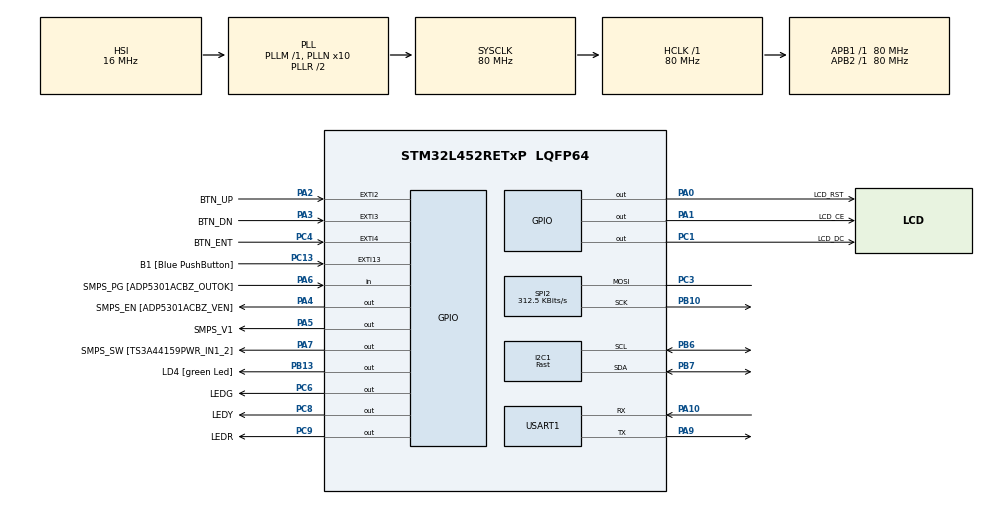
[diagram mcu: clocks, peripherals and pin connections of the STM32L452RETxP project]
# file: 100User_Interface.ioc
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Mcu.Family=STM32L4
PC3.Mode=Simplex_Bidirectional_Master
PA2.GPIO_PuPd=GPIO_NOPULL
VP_SYS_VS_tim6.Mode=TIM6
RCC.CortexFreq_Value=80000000
I2C1.I2C_Speed_Mode=I2C_Fast
SPI2.VirtualType=VM_MASTER
PB10.Mode=Simplex_Bidirectional_Master
NVIC.TIM6_DAC_IRQn=true\:0\:0\:false\:false\:true\:false\:true
PH0-OSC_IN\ (PH0).Signal=RCC_OSC_IN
PA3.GPIO_PuPd=GPIO_NOPULL
PA0.GPIO_Label=LCD_RST
NVIC.EXTI3_IRQn=true\:5\:0\:true\:false\:true\:true\:true
PC6.GPIO_Label=LEDG
PA6.GPIO_Label=SMPS_PG [ADP5301ACBZ_OUTOK]
PC13.GPIO_Label=B1 [Blue PushButton]
PB13.GPIO_Label=LD4 [green Led]
PB13.Signal=GPIO_Output
RCC.SYSCLKSource=RCC_SYSCLKSOURCE_PLLCLK
ProjectManager.StackSize=0x400
PA14\ (JTCK/SWCLK).Signal=SYS_JTCK-SWCLK
RCC.HCLKFreq_Value=80000000
RCC.APB2TimFreq_Value=80000000
PB6.Signal=I2C1_SCL
PB6.Mode=I2C
PC3.Signal=SPI2_MOSI
RCC.AHBFreq_Value=80000000
RCC.PREFETCH_ENABLE=1
SPI2.BaudRatePrescaler=SPI_BAUDRATEPRESCALER_256
RCC.HSE_VALUE=8000000
PA13\ (JTMS/SWDIO).GPIO_Label=TMS
PA6.GPIO_PuPd=GPIO_PULLUP
PC4.GPIO_Label=BTN_ENT
PA5.GPIO_PuPd=GPIO_NOPULL
PC13.GPIO_PuPd=GPIO_NOPULL
SPI2.CalculateBaudRate=312.5 KBits/s
PB7.Signal=I2C1_SDA
PA0.Signal=GPIO_Output
Mcu.Package=LQFP64
PA6.Signal=GPIO_Input
NVIC.TimeBase=TIM6_DAC_IRQn
SPI2.Mode=SPI_MODE_MASTER
PA2.GPIO_Label=BTN_UP
NVIC.TimeBaseIP=TIM6
PA10.Signal=USART1_RX
PA14\ (JTCK/SWCLK).GPIO_Label=TCK
NVIC.EXTI2_IRQn=true\:5\:0\:true\:false\:true\:true\:true
RCC.APB1TimFreq_Value=80000000
SPI2.Direction=SPI_DIRECTION_1LINE
NVIC.USART1_IRQn=true\:6\:0\:true\:false\:true\:true\:true
PA4.GPIO_Label=SMPS_EN [ADP5301ACBZ_VEN]
RCC.HSI48_VALUE=48000000
PA3.Signal=GPXTI3
PB3\ (JTDO/TRACESWO).GPIO_Label=SWO
RCC.MSI_VALUE=4000000
RCC.PLLSourceVirtual=RCC_PLLSOURCE_HSI
NVIC.EXTI4_IRQn=true\:5\:0\:true\:false\:true\:true\:true
PC4.GPIO_ModeDefaultEXTI=GPIO_MODE_IT_RISING
PA10.Mode=Asynchronous
PC9.GPIO_Label=LEDR
PC4.GPIO_PuPd=GPIO_NOPULL
PC13.Signal=GPXTI13
PC8.Signal=GPIO_Output
PC4.Signal=GPXTI4
PC6.Signal=GPIO_Output
PC15-OSC32_OUT\ (PC15).Signal=RCC_OSC32_OUT
PH1-OSC_OUT\ (PH1).Signal=RCC_OSC_OUT
PA3.GPIO_ModeDefaultEXTI=GPIO_MODE_IT_RISING
PC8.GPIO_Label=LEDY
USART1.VirtualMode-Asynchronous=VM_ASYNC
PA9.Mode=Asynchronous
PB3\ (JTDO/TRACESWO).Signal=SYS_JTDO-SWO
ProjectManager.TargetToolchain=STM32CubeIDE
PA9.Signal=USART1_TX
I2C1.Timing=0x00702991
RCC.USBFreq_Value=64000000
RCC.LSE_VALUE=32768
PA1.Signal=GPIO_Output
PB10.Signal=SPI2_SCK
PA5.Signal=GPIO_Output
board=NUCLEO-L452RE-P
RCC.VCOOutputFreq_Value=160000000
RCC.APB2Freq_Value=80000000
PA5.GPIO_ModeDefaultOutputPP=GPIO_MODE_OUTPUT_PP
RCC.ADCFreq_Value=64000000
PA1.GPIO_Label=LCD_CE
PC1.GPIO_Label=LCD_DC
Mcu.Name=STM32L452RETxP
PA2.Signal=GPXTI2
PA4.Signal=GPIO_Output
RCC.SYSCLKFreq_VALUE=80000000
PA7.GPIO_Label=SMPS_SW [TS3A44159PWR_IN1_2]
PA5.GPIO_Label=SMPS_V1
PC13.GPIO_ModeDefaultEXTI=GPIO_MODE_IT_FALLING
PC14-OSC32_IN\ (PC14).Signal=RCC_OSC32_IN
PB7.Mode=I2C
ProjectManager.HeapSize=0x200
RCC.HSI_VALUE=16000000
PA2.GPIO_ModeDefaultEXTI=GPIO_MODE_IT_RISING
PA5.GPIO_Speed=GPIO_SPEED_FREQ_LOW
NVIC.PriorityGroup=NVIC_PRIORITYGROUP_4
PH0-OSC_IN\ (PH0).GPIO_Label=MCO
RCC.PLLN=10
SPI2.DataSize=SPI_DATASIZE_8BIT
PC9.Signal=GPIO_Output
RCC.APB1Freq_Value=80000000
PC1.Signal=GPIO_Output
PA13\ (JTMS/SWDIO).Signal=SYS_JTMS-SWDIO
PA3.GPIO_Label=BTN_DN
PA7.Signal=GPIO_Output

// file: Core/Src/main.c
/* USER CODE BEGIN Header */
/**
  ******************************************************************************
  * @file           : main.c
  * @brief          : Main program body
  ******************************************************************************
  * @attention
  *
  * <h2><center>&copy; Copyright (c) 2022 STMicroelectronics.
  * All rights reserved.</center></h2>
  *
  * This software component is licensed by ST under BSD 3-Clause license,
  * the "License"; You may not use this file except in compliance with the
  * License. You may obtain a copy of the License at:
  *                        opensource.org/licenses/BSD-3-Clause
  *
  ******************************************************************************
  */
/* USER CODE END Header */
#include "main.h"
#include "i2c.h"
#include "spi.h"
#include "usart.h"
#include "gpio.h"

/* USER CODE BEGIN Includes */
#include <stdio.h>

#include "task_handler.h"
#include "lcd.h"
/* USER CODE END Includes */

/* USER CODE BEGIN PM */
/* Module Log_Level Priority */

/* USER CODE END PM */

/* USER CODE BEGIN PV */
/* Task handles */
TaskHandle_t _handle_log_task;
TaskHandle_t _handle_display_task;
TaskHandle_t _handle_temp_task;
TaskHandle_t _handle_button_task;
TaskHandle_t _handle_optime_task;

/* Queue handles */
QueueHandle_t _q_log;

/* Semaphores */
SemaphoreHandle_t _mutex_display;
SemaphoreHandle_t _mutex_log;

/* Timer Handles */

/* USER CODE END PV */

void SystemClock_Config(void);

int main(void)
{

  /* MCU Configuration--------------------------------------------------------*/

  /* Reset of all peripherals, Initializes the Flash interface and the Systick. */
  HAL_Init();

  /* Configure the system clock */
  SystemClock_Config();

  /* Initialize all configured peripherals */
  MX_GPIO_Init();
  MX_USART1_UART_Init();
  MX_SPI2_Init();
  MX_I2C1_Init();
  /* USER CODE BEGIN 2 */
  /* Init User Peripherals */
  LCD_Init();

  /* Create Tasks */
  BaseType_t status;
  status = xTaskCreate(display_task, "display_task", 250, NULL, 3, &_handle_display_task);
  configASSERT(status == pdPASS);

  status = xTaskCreate(log_task, "log_task", 250, NULL, 1, &_handle_log_task);
  configASSERT(status == pdPASS);

  status = xTaskCreate(temp_task, "temp_task", 250, NULL, 2, &_handle_temp_task);
  configASSERT(status == pdPASS);

  status = xTaskCreate(button_task, "button_task", 250, NULL, 3, &_handle_button_task);
  configASSERT(status == pdPASS);

  status = xTaskCreate(optime_task, "optime_task", 250, NULL, 2, &_handle_optime_task);
  configASSERT(status == pdPASS);

  /* Create Queues */
  _q_log = xQueueCreate(100, sizeof(size_t));
  configASSERT(_q_log != NULL);

  /* Create Semaphores */
  _mutex_display = xSemaphoreCreateMutex();
  configASSERT(_mutex_display != NULL);

  _mutex_log = xSemaphoreCreateMutex();
  configASSERT(_mutex_log != NULL);

  /* Start scheduler */
  vTaskStartScheduler();

  /* USER CODE END 2 */

  /* Infinite loop */
  while (1)
  {

  }
}

void SystemClock_Config(void)
{
  RCC_OscInitTypeDef RCC_OscInitStruct = {0};
  RCC_ClkInitTypeDef RCC_ClkInitStruct = {0};
  RCC_PeriphCLKInitTypeDef PeriphClkInit = {0};

  /** Initializes the RCC Oscillators according to the specified parameters
  * in the RCC_OscInitTypeDef structure.
  */
  RCC_OscInitStruct.OscillatorType = RCC_OSCILLATORTYPE_HSI;
  RCC_OscInitStruct.HSIState = RCC_HSI_ON;
  RCC_OscInitStruct.HSICalibrationValue = RCC_HSICALIBRATION_DEFAULT;
  RCC_OscInitStruct.PLL.PLLState = RCC_PLL_ON;
  RCC_OscInitStruct.PLL.PLLSource = RCC_PLLSOURCE_HSI;
  RCC_OscInitStruct.PLL.PLLM = 1;
  RCC_OscInitStruct.PLL.PLLN = 10;
  RCC_OscInitStruct.PLL.PLLP = RCC_PLLP_DIV7;
  RCC_OscInitStruct.PLL.PLLQ = RCC_PLLQ_DIV2;
  RCC_OscInitStruct.PLL.PLLR = RCC_PLLR_DIV2;
  if (HAL_RCC_OscConfig(&RCC_OscInitStruct) != HAL_OK)
  {
    Error_Handler();
  }
  /** Initializes the CPU, AHB and APB buses clocks
  */
  RCC_ClkInitStruct.ClockType = RCC_CLOCKTYPE_HCLK|RCC_CLOCKTYPE_SYSCLK
                              |RCC_CLOCKTYPE_PCLK1|RCC_CLOCKTYPE_PCLK2;
  RCC_ClkInitStruct.SYSCLKSource = RCC_SYSCLKSOURCE_PLLCLK;
  RCC_ClkInitStruct.AHBCLKDivider = RCC_SYSCLK_DIV1;
  RCC_ClkInitStruct.APB1CLKDivider = RCC_HCLK_DIV1;
  RCC_ClkInitStruct.APB2CLKDivider = RCC_HCLK_DIV1;

  if (HAL_RCC_ClockConfig(&RCC_ClkInitStruct, FLASH_LATENCY_4) != HAL_OK)
  {
    Error_Handler();
  }
  PeriphClkInit.PeriphClockSelection = RCC_PERIPHCLK_USART1|RCC_PERIPHCLK_I2C1;
  PeriphClkInit.Usart1ClockSelection = RCC_USART1CLKSOURCE_PCLK2;
  PeriphClkInit.I2c1ClockSelection = RCC_I2C1CLKSOURCE_PCLK1;
  if (HAL_RCCEx_PeriphCLKConfig(&PeriphClkInit) != HAL_OK)
  {
    Error_Handler();
  }
  /** Configure the main internal regulator output voltage
  */
  if (HAL_PWREx_ControlVoltageScaling(PWR_REGULATOR_VOLTAGE_SCALE1) != HAL_OK)
  {
    Error_Handler();
  }
}

 /**
  * @brief  Period elapsed callback in non blocking mode
  * @note   This function is called  when TIM6 interrupt took place, inside
  * HAL_TIM_IRQHandler(). It makes a direct call to HAL_IncTick() to increment
  * a global variable "uwTick" used as application time base.
  * @param  htim : TIM handle
  * @retval None
  */
void HAL_TIM_PeriodElapsedCallback(TIM_HandleTypeDef *htim)
{
  if (htim->Instance == TIM6) {
    HAL_IncTick();
  }
}

void Error_Handler(void)
{
  __disable_irq();
  while (1)
  {
  }
}

/************************ (C) COPYRIGHT STMicroelectronics *****END OF FILE****/
